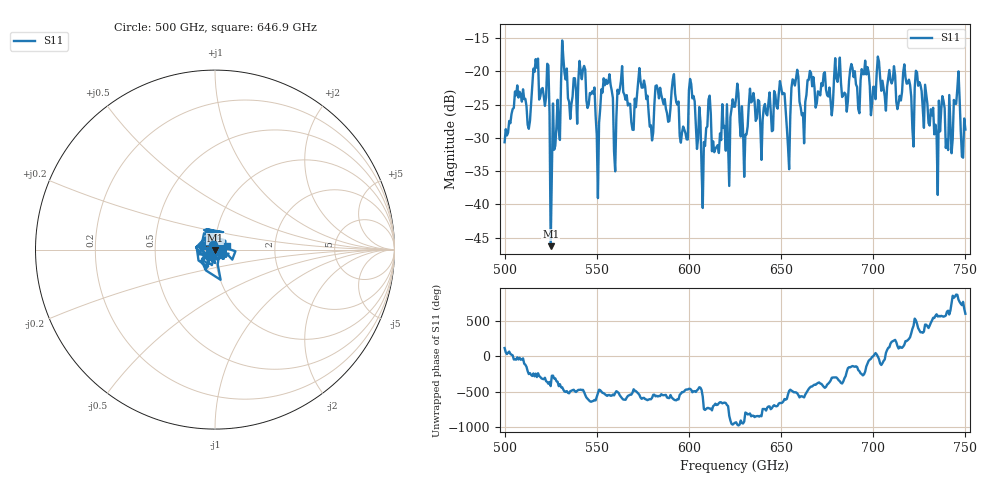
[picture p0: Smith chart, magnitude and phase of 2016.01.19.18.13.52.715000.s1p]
!Created with skrf (http://scikit-rf.org).
# GHz S RI R 50.0
!freq ReS11 ImS11
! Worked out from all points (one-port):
!   401 points, 500 GHz to 750 GHz, reference 50 ohm
!   lowest |S11| = -46.3 dB at 525 GHz (marker M1), VSWR 1.01, Z = 50.2 - j0.433 ohm
!   |S11| at or under -10 dB: start of sweep to end of sweep
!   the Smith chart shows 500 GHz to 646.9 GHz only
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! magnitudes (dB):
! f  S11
! 500 GHz  -30.6
! 506.9 GHz  -22.1
! 513.1 GHz  -28.6
! 516.9 GHz  -18.1
! 523.1 GHz  -18.8
! 525 GHz  -46.3
! 526.2 GHz  -24.8
! 531.2 GHz  -15.3
! 542.5 GHz  -19.7
! 550.6 GHz  -39.1
! 553.8 GHz  -21.0
! 559.4 GHz  -32.0
! 562.5 GHz  -22.6
! 593.8 GHz  -25.0
! 598.1 GHz  -29.3
! 601.2 GHz  -21.9
! 608.1 GHz  -30.6
! 610.6 GHz  -24.2
! 615 GHz  -31.4
! 625 GHz  -25.3
! 630.6 GHz  -29.5
! 633.8 GHz  -24.7
! 650 GHz  -22.3
! 653.8 GHz  -31.3
! 656.2 GHz  -21.2
! 687.5 GHz  -19.7
! 718.8 GHz  -21.8
! 750 GHz  -28.7
